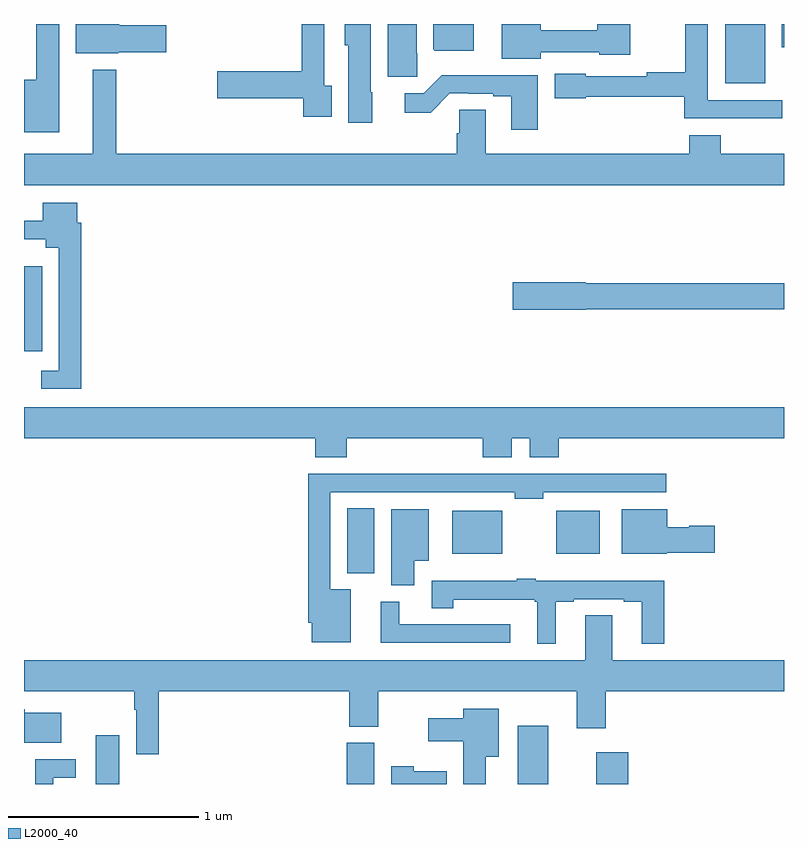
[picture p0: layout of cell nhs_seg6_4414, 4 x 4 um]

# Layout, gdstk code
import gdstk
lib = gdstk.Library(unit=1e-6, precision=1e-09)
def R(c, l, rs):  # rectangles x0, y0, x1, y1
    for r in rs: c.add(gdstk.rectangle(r[:2], r[2:], *l))
def P(c, l, *ps):  # polygons
    for p in ps: c.add(gdstk.Polygon(p, *l))
L2000_40 = (2000, 40)

nhs_seg6_4414 = lib.new_cell('nhs_seg6_4414')
R(nhs_seg6_4414, L2000_40, [(371.378,961.5,371.5,961.756), (372.698,961.5,372.844,961.716), (373.598,961.5,373.759,961.807), (374.012,961.5,374.18,961.666), (372.701,962.609,372.844,962.951), (373.253,962.711,373.516,962.938), (373.802,962.711,374.029,962.938), (371,963.777,371.095,964.225), (374.69,965.189,374.902,965.5), (374.987,965.378,375,965.5)])
P(nhs_seg6_4414, L2000_40, [(371.185,965.5),(371.064,965.5),(371.064,965.207),(371,965.207),(371,964.931),(371.185,964.931)],
  [(371.496,965.351),(371.749,965.351),(371.749,965.493),(371.5,965.493),(371.5,965.5),(371.273,965.5),(371.273,965.345),(371.496,965.345)],
  [(373.07,965.346),(373.066,965.346),(373.066,965.5),(372.914,965.5),(372.914,965.223),(373.07,965.223)],
  [(373.72,965.352),(374.028,965.352),(374.028,965.339),(374.19,965.339),(374.19,965.5),(374.017,965.5),(374.017,965.468),(373.72,965.468),(373.72,965.5),(373.514,965.5),(373.514,965.318),(373.72,965.318)],
  [(373.366,965.5),(373.154,965.5),(373.154,965.368),(373.162,965.36),(373.366,965.36)],
  [(372.832,965.142),(372.826,965.142),(372.826,965.5),(372.689,965.5),(372.689,965.388),(372.707,965.388),(372.707,964.98),(372.832,964.98)],
  [(374.992,965.1),(374.599,965.1),(374.599,965.5),(374.479,965.5),(374.479,965.246),(374.278,965.246),(374.278,965.226),(373.956,965.226),(373.956,965.239),(373.794,965.239),(373.794,965.11),(373.956,965.11),(373.956,965.118),(374.474,965.118),(374.474,965.003),(374.992,965.003)],
  [(372.619,965.174),(372.579,965.174),(372.579,965.5),(372.463,965.5),(372.463,965.252),(372.018,965.252),(372.018,965.11),(372.471,965.11),(372.471,965.013),(372.619,965.013)],
  [(375,964.816),(374.666,964.816),(374.666,964.915),(374.501,964.915),(374.501,964.816),(373.429,964.816),(373.429,965.048),(373.29,965.048),(373.29,964.926),(373.277,964.926),(373.277,964.816),(371.485,964.816),(371.485,965.26),(371.363,965.26),(371.363,964.816),(371,964.816),(371,964.652),(375,964.652)],
  [(373.705,965.231),(373.199,965.231),(373.104,965.136),(373.005,965.136),(373.005,965.034),(373.14,965.034),(373.242,965.136),(373.342,965.136),(373.342,965.133),(373.469,965.133),(373.469,965.121),(373.565,965.121),(373.565,964.944),(373.705,964.944)],
  [(371.3,964.454),(371.281,964.454),(371.281,964.558),(371.099,964.558),(371.099,964.464),(371,964.464),(371,964.368),(371.114,964.368),(371.114,964.322),(371.184,964.322),(371.184,963.675),(371.091,963.675),(371.091,963.579),(371.3,963.579)],
  [(373.956,964),(375,964),(375,964.136),(373.956,964.136),(373.956,964.142),(373.572,964.142),(373.572,963.995),(373.956,963.995)],
  [(371,963.32),(372.533,963.32),(372.533,963.221),(372.698,963.221),(372.698,963.32),(373.415,963.32),(373.415,963.221),(373.567,963.221),(373.567,963.32),(373.661,963.32),(373.661,963.221),(373.814,963.221),(373.814,963.32),(375,963.32),(375,963.484),(371,963.484)],
  [(372.721,962.524),(372.612,962.524),(372.612,963.036),(373.584,963.036),(373.584,963.001),(373.734,963.001),(373.734,963.036),(374.38,963.036),(374.38,963.134),(373.834,963.134),(373.834,963.132),(373.331,963.132),(373.331,963.134),(372.781,963.134),(372.781,963.132),(372.496,963.132),(372.496,962.35),(372.515,962.35),(372.515,962.246),(372.721,962.246)],
  [(373.054,962.675),(373.129,962.675),(373.129,962.947),(372.932,962.947),(372.932,962.545),(373.054,962.545)],
  [(374.382,962.717),(374.635,962.717),(374.635,962.859),(374.502,962.859),(374.502,962.851),(374.386,962.851),(374.386,962.947),(374.147,962.947),(374.147,962.711),(374.382,962.711)],
  [(373.798,962.46),(373.894,962.46),(373.894,962.472),(374.156,962.472),(374.156,962.46),(374.252,962.46),(374.252,962.237),(374.369,962.237),(374.369,962.569),(373.694,962.569),(373.694,962.581),(373.594,962.581),(373.594,962.569),(373.146,962.569),(373.146,962.425),(373.259,962.425),(373.259,962.471),(373.689,962.471),(373.689,962.46),(373.7,962.46),(373.7,962.237),(373.798,962.237)],
  [(373.558,962.34),(372.976,962.34),(372.976,962.46),(372.878,962.46),(372.878,962.244),(373.558,962.244)],
  [(371.708,961.988),(372.713,961.988),(372.713,961.801),(372.865,961.801),(372.865,961.988),(373.91,961.988),(373.91,961.794),(374.063,961.794),(374.063,961.988),(375,961.988),(375,962.152),(374.095,962.152),(374.095,962.387),(373.955,962.387),(373.955,962.152),(371,962.152),(371,961.988),(371.58,961.988),(371.58,961.892),(371.592,961.892),(371.592,961.656),(371.708,961.656)],
  [(373.429,961.643),(373.498,961.643),(373.498,961.897),(373.313,961.897),(373.313,961.846),(373.128,961.846),(373.128,961.724),(373.313,961.724),(373.313,961.5),(373.429,961.5)],
  [(371.197,961.876),(371.004,961.876),(371.004,961.894),(371,961.894),(371,961.718),(371.197,961.718)],
  [(371.154,961.533),(371.272,961.533),(371.272,961.629),(371.058,961.629),(371.058,961.5),(371.154,961.5)],
  [(373.225,961.567),(373.05,961.567),(373.05,961.594),(372.932,961.594),(372.932,961.5),(373.225,961.5)])

lib.write_gds('nhs_seg6_4414.gds')
